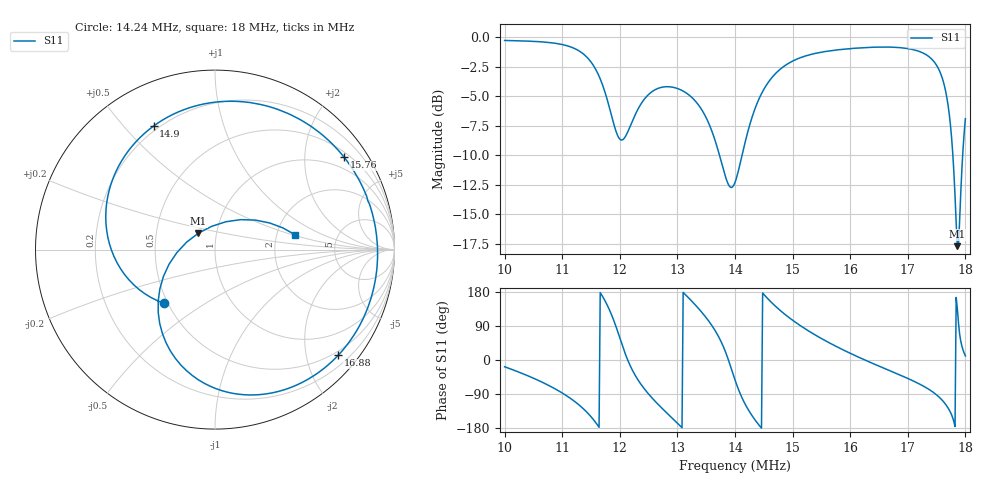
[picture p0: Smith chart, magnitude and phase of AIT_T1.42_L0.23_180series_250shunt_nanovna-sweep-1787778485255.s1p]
! NanoVNA Web complex sweep
! Processing: original sample grid, no browser smoothing
# Hz S RI R 50
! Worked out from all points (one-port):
!   401 points, 10 MHz to 18 MHz, reference 50 ohm
!   lowest |S11| = -17.7 dB at 17.86 MHz (marker M1), VSWR 1.30, Z = 40.9 + j7.61 ohm
!   |S11| at or under -10 dB: 13.73 MHz to 14.12 MHz (392 kHz wide, 2.81 % of centre); 17.78 MHz to 17.95 MHz (170.5 kHz wide, 0.954 % of centre)
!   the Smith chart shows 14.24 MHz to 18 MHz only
!   S11 on the Smith chart (normalised r, x): 14.24 MHz: 0.48, -0.34; 14.9 MHz: 0.18, +0.60; 15.76 MHz: 0.63, +2.99; 16.88 MHz: 0.41, -2.64; 18 MHz: 2.52, +0.53
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1e7  0.9244 -0.297
1.05e7  0.6441 -0.7148
1.1e7  0.0482 -0.9319
1.13e7  -0.4321 -0.7602
1.158e7  -0.7071 -0.1935
1.182e7  -0.3394 0.3721
1.2e7  0.1947 0.3149
1.22e7  0.4019 -0.1563
1.248e7  0.0369 -0.5653
1.27e7  -0.3284 -0.5164
1.3e7  -0.5912 -0.1393
1.324e7  -0.5143 0.2202
1.352e7  -0.1348 0.4246
1.38e7  0.2261 0.1553
1.4e7  0.1477 -0.1923
1.424e7  -0.2845 -0.2989
1.454e7  -0.6076 0.146
1.49e7  -0.3423 0.6883
1.5e7  -0.2049 0.7669
1.534e7  0.2789 0.8026
1.576e7  0.7191 0.5147
1.6e7  0.8518 0.2714
1.688e7  0.686 -0.5891
1.7e7  0.5921 -0.6734
1.752e7  -0.0604 -0.7445
1.772e7  -0.3163 -0.3507
1.786e7  -0.0925 0.0914
1.8e7  0.444 0.084
